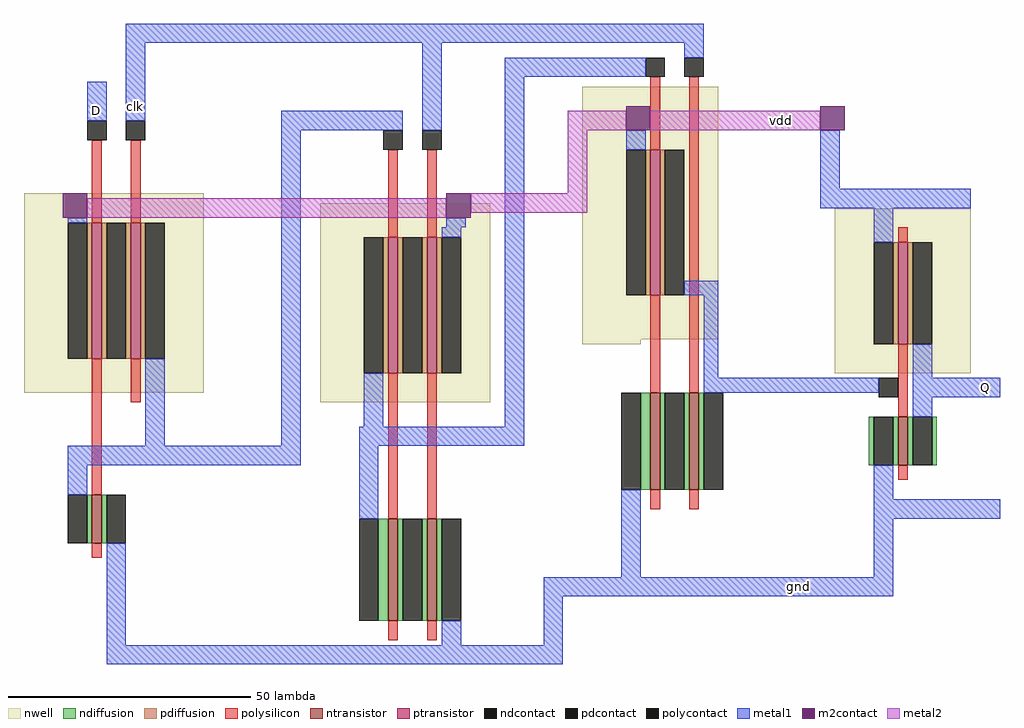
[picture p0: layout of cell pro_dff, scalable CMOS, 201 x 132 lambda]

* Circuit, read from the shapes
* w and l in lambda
.subckt pro_dff D Q clk gnd vdd
M1 gnd D n1 VSUBS nfet w=10 l=2
M2 n2 n1 n3 VSUBS nfet w=21 l=2
M3 gnd clk n2 VSUBS nfet w=21 l=2
M4 n4 n3 gnd VSUBS nfet w=20 l=2
M5 n5 clk n4 VSUBS nfet w=20 l=2
M6 Q n5 gnd VSUBS nfet w=10 l=2
M7 n6 D vdd n7 pfet w=28 l=2
M8 n1 clk n6 n7 pfet w=28 l=2
M9 n8 n1 n3 n9 pfet w=28 l=2
M10 vdd clk n8 n9 pfet w=28 l=2
M11 n5 n3 vdd n10 pfet w=30 l=2
M12 Q n5 vdd n11 pfet w=21 l=2
.ends

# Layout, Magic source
magic
tech scmos
<< nwell >>
rect -93 -3 -56 38
rect -32 -5 3 36
rect 22 8 50 60
rect 22 7 34 8
rect 74 1 102 35
<< ntransistor >>
rect -79 -34 -77 -24
rect 36 -23 38 -3
rect 44 -23 46 -3
rect 87 -18 89 -8
rect -18 -50 -16 -29
rect -10 -50 -8 -29
<< ptransistor >>
rect -79 4 -77 32
rect -71 4 -69 32
rect -18 1 -16 29
rect -10 1 -8 29
rect 36 17 38 47
rect 87 7 89 28
<< ndiffusion >>
rect -80 -34 -79 -24
rect -77 -34 -76 -24
rect 34 -23 36 -3
rect 38 -23 39 -3
rect 43 -23 44 -3
rect 46 -23 47 -3
rect 81 -18 82 -8
rect 86 -18 87 -8
rect 89 -18 90 -8
rect 94 -18 95 -8
rect -20 -50 -18 -29
rect -16 -50 -15 -29
rect -11 -50 -10 -29
rect -8 -50 -7 -29
<< pdiffusion >>
rect -80 4 -79 32
rect -77 4 -76 32
rect -72 4 -71 32
rect -69 4 -68 32
rect -19 1 -18 29
rect -16 1 -15 29
rect -11 1 -10 29
rect -8 1 -7 29
rect 35 17 36 47
rect 38 17 39 47
rect 86 7 87 28
rect 89 7 90 28
<< ndcontact >>
rect -84 -34 -80 -24
rect -76 -34 -72 -24
rect 30 -23 34 -3
rect 39 -23 43 -3
rect 47 -23 51 -3
rect 82 -18 86 -8
rect 90 -18 94 -8
rect -24 -50 -20 -29
rect -15 -50 -11 -29
rect -7 -50 -3 -29
<< pdcontact >>
rect -84 4 -80 32
rect -76 4 -72 32
rect -68 4 -64 32
rect -23 1 -19 29
rect -15 1 -11 29
rect -7 1 -3 29
rect 31 17 35 47
rect 39 17 43 47
rect 82 7 86 28
rect 90 7 94 28
<< polysilicon >>
rect -79 32 -77 49
rect -71 32 -69 49
rect 36 47 38 62
rect -18 29 -16 47
rect -10 29 -8 47
rect -79 -24 -77 4
rect -71 -5 -69 4
rect -18 -29 -16 1
rect -10 -29 -8 1
rect 36 -3 38 17
rect 44 -3 46 62
rect 87 28 89 31
rect 87 -8 89 7
rect 87 -21 89 -18
rect 36 -27 38 -23
rect 44 -27 46 -23
rect -79 -37 -77 -34
rect -18 -54 -16 -50
rect -10 -54 -8 -50
<< polycontact >>
rect 35 62 39 66
rect 43 62 47 66
rect -80 49 -76 53
rect -72 49 -68 53
rect -19 47 -15 51
rect -11 47 -7 51
rect 83 -4 87 0
<< metal1 >>
rect -72 69 47 73
rect -80 53 -76 61
rect -72 53 -68 69
rect -40 51 -15 55
rect -84 32 -80 33
rect -68 -14 -64 4
rect -40 -14 -36 51
rect -11 51 -7 69
rect 43 66 47 69
rect 6 62 35 66
rect -6 31 -2 33
rect -7 29 -3 31
rect -23 -10 -19 1
rect 6 -10 10 62
rect 31 47 35 51
rect 71 39 75 51
rect 71 35 102 39
rect 82 28 86 35
rect 43 17 50 20
rect 47 0 50 17
rect 90 0 94 7
rect 47 -3 83 0
rect -84 -18 -36 -14
rect -24 -14 10 -10
rect -84 -24 -80 -18
rect -76 -55 -72 -34
rect -24 -29 -20 -14
rect 90 -4 108 0
rect 90 -8 94 -4
rect 30 -41 34 -23
rect 82 -25 86 -18
rect 82 -29 108 -25
rect 82 -41 86 -29
rect -7 -55 -3 -50
rect 14 -45 86 -41
rect 14 -55 18 -45
rect -76 -59 18 -55
<< m2contact >>
rect -85 33 -80 38
rect -6 33 -1 38
rect 31 51 36 56
rect 71 51 76 56
<< metal2 >>
rect 19 51 31 55
rect 36 51 71 55
rect 19 38 23 51
rect -80 33 -6 37
rect -1 34 23 38
<< labels >>
rlabel metal1 -80 53 -76 57 1 D
rlabel metal1 -72 54 -68 58 1 clk
rlabel metal2 61 51 65 55 1 vdd
rlabel metal1 64 -45 69 -41 1 gnd
rlabel metal1 103 -4 107 0 7 Q
<< end >>
